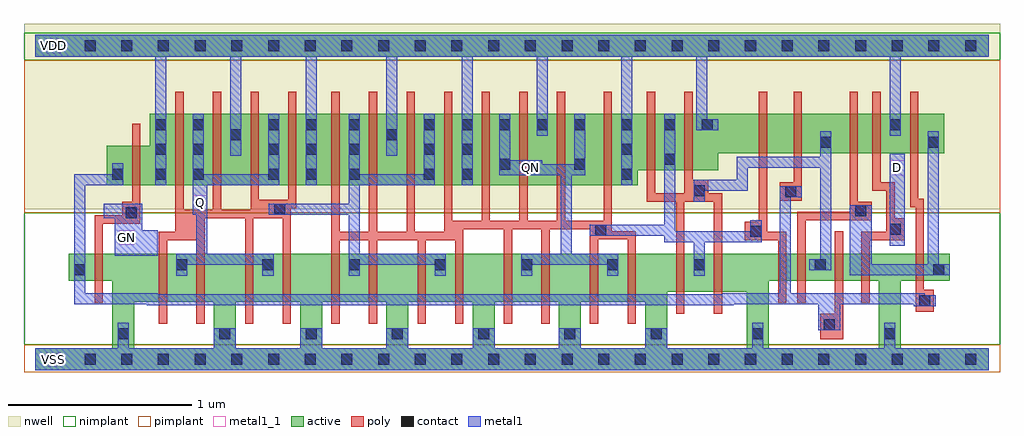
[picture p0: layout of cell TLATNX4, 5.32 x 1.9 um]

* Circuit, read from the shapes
.subckt TLATNX4 D GN Q QN VDD VSS
M1 VSS GN n1 VSS nfet w=0.145u l=0.045u
M2 Q n2 VSS VSS nfet w=0.26u l=0.045u m=4
M3 n2 n3 VSS VSS nfet w=0.26u l=0.045u m=4
M4 QN n3 VSS VSS nfet w=0.26u l=0.045u m=4
M5 n3 n4 VSS VSS nfet w=0.205u l=0.045u m=2
M6 n5 n3 VSS VSS nfet w=0.145u l=0.045u
M7 n4 n6 n5 VSS nfet w=0.145u l=0.045u
M8 n7 n1 n4 VSS nfet w=0.145u l=0.045u
M9 VSS D n7 VSS nfet w=0.145u l=0.045u
M10 n6 n1 VSS VSS nfet w=0.145u l=0.045u
M11 VDD GN n1 VDD pfet w=0.215u l=0.045u
M12 Q n2 VDD VDD pfet w=0.39u l=0.045u m=4
M13 n2 n3 VDD VDD pfet w=0.39u l=0.045u m=4
M14 QN n3 VDD VDD pfet w=0.39u l=0.045u m=4
M15 n3 n4 VDD VDD pfet w=0.31u l=0.045u m=2
M16 n8 n3 VDD VDD pfet w=0.215u l=0.045u
M17 n4 n1 n8 VDD pfet w=0.215u l=0.045u
M18 n9 n6 n4 VDD pfet w=0.215u l=0.045u
M19 VDD D n9 VDD pfet w=0.215u l=0.045u
M20 n6 n1 VDD VDD pfet w=0.215u l=0.045u
.ends

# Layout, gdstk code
import gdstk
lib = gdstk.Library(unit=1e-6, precision=5e-10)
def R(c, l, rs):  # rectangles x0, y0, x1, y1
    for r in rs: c.add(gdstk.rectangle(r[:2], r[2:], *l))
def A(c, l, x, y, w, h, nx, ny, dx, dy):  # array of equal rectangles
    R(c, l, [(x+i*dx, y+j*dy, x+i*dx+w, y+j*dy+h) for i in range(nx) for j in range(ny)])
def P(c, l, *ps):  # polygons
    for p in ps: c.add(gdstk.Polygon(p, *l))
active = (1, 0)
nwell = (2, 0)
poly = (3, 0)
nimplant = (4, 0)
pimplant = (5, 0)
contact = (6, 0)
metal1 = (7, 0)
metal1_1 = (7, 1)

tlatnx4 = lib.new_cell('TLATNX4')
R(tlatnx4, active, [(0,1.65,5.2,1.77)])
P(tlatnx4, active, [(0.625,1.34),(4.955,1.34),(4.955,1.125),(3.725,1.125),(3.725,1.03),(3.285,1.03),(3.285,0.95),(0.39,0.95),(0.39,1.165),(0.625,1.165)],
  [(0.185,0.575),(4.985,0.575),(4.985,0.43),(4.72,0.43),(4.72,0.06),(5.2,0.06),(5.2,-0.06),(0,-0.06),(0,0.06),(0.42,0.06),(0.42,0.315),(0.54,0.315),(0.54,0.06),(0.975,0.06),(0.975,0.315),(1.095,0.315),(1.095,0.06),(1.445,0.06),(1.445,0.315),(1.565,0.315),(1.565,0.06),(1.915,0.06),(1.915,0.315),(2.035,0.315),(2.035,0.06),(2.385,0.06),(2.385,0.315),(2.505,0.315),(2.505,0.06),(2.855,0.06),(2.855,0.315),(2.975,0.315),(2.975,0.06),(3.325,0.06),(3.325,0.315),(0.42,0.315),(0.42,0.37),(3.445,0.37),(3.445,0.06),(3.88,0.06),(3.88,0.37),(0.42,0.37),(0.42,0.43),(4,0.43),(4,0.06),(4.6,0.06),(4.6,0.43),(0.185,0.43)])
R(tlatnx4, nwell, [(-0.06,0.82,5.26,1.83)])
P(tlatnx4, poly, [(0.765,1.46),(0.81,1.46),(0.81,0.815),(0.97,0.815),(0.97,1.46),(1.015,1.46),(1.015,0.815),(1.175,0.815),(1.175,1.46),(1.22,1.46),(1.22,0.87),(1.38,0.87),(1.38,1.46),(1.425,1.46),(1.425,0.825),(1.395,0.825),(1.395,0.195),(1.35,0.195),(1.35,0.77),(1.19,0.77),(1.19,0.195),(1.145,0.195),(1.145,0.77),(0.925,0.77),(0.925,0.195),(0.88,0.195),(0.88,0.65),(0.72,0.65),(0.72,0.195),(0.675,0.195),(0.675,0.695),(0.765,0.695)],
  [(1.615,1.46),(1.66,1.46),(1.66,0.695),(1.82,0.695),(1.82,1.46),(1.865,1.46),(1.865,0.695),(2.025,0.695),(2.025,1.46),(2.07,1.46),(2.07,0.695),(2.23,0.695),(2.23,1.46),(2.275,1.46),(2.275,0.755),(2.435,0.755),(2.435,1.46),(2.48,1.46),(2.48,0.755),(2.64,0.755),(2.64,1.46),(2.685,1.46),(2.685,0.755),(2.845,0.755),(2.845,1.46),(2.89,1.46),(2.89,0.755),(3.1,0.755),(3.1,1.46),(3.145,1.46),(3.145,0.7),(3.275,0.7),(3.275,0.195),(3.23,0.195),(3.23,0.655),(3.07,0.655),(3.07,0.195),(3.025,0.195),(3.025,0.71),(2.805,0.71),(2.805,0.195),(2.76,0.195),(2.76,0.71),(2.6,0.71),(2.6,0.195),(2.555,0.195),(2.555,0.71),(2.335,0.71),(2.335,0.195),(2.29,0.195),(2.29,0.65),(2.13,0.65),(2.13,0.195),(2.085,0.195),(2.085,0.65),(1.865,0.65),(1.865,0.195),(1.82,0.195),(1.82,0.65),(1.66,0.65),(1.66,0.195),(1.615,0.195)],
  [(0.53,1.285),(0.575,1.285),(0.575,0.74),(0.37,0.74),(0.37,0.31),(0.325,0.31),(0.325,0.785),(0.475,0.785),(0.475,0.86),(0.53,0.86)],
  [(3.335,1.46),(3.38,1.46),(3.38,0.905),(3.54,0.905),(3.54,1.46),(3.585,1.46),(3.585,0.98),(3.67,0.98),(3.67,0.905),(3.745,0.905),(3.745,0.25),(3.7,0.25),(3.7,0.86),(3.54,0.86),(3.54,0.25),(3.495,0.25),(3.495,0.86),(3.335,0.86)],
  [(3.945,1.46),(3.99,1.46),(3.99,0.695),(4.095,0.695),(4.095,0.31),(4.05,0.31),(4.05,0.65),(3.87,0.65),(3.87,0.75),(3.945,0.75)],
  [(4.135,1.46),(4.18,1.46),(4.18,0.865),(4.06,0.865),(4.06,0.965),(4.135,0.965)],
  [(4.44,1.46),(4.485,1.46),(4.485,0.86),(4.56,0.86),(4.56,0.76),(4.2,0.76),(4.2,0.31),(4.155,0.31),(4.155,0.805),(4.44,0.805)],
  [(4.565,1.46),(4.61,1.46),(4.61,0.965),(4.685,0.965),(4.685,0.77),(4.74,0.77),(4.74,0.65),(4.55,0.65),(4.55,0.31),(4.505,0.31),(4.505,0.695),(4.64,0.695),(4.64,0.92),(4.565,0.92)],
  [(4.77,1.46),(4.815,1.46),(4.815,0.875),(4.845,0.875),(4.845,0.38),(4.9,0.38),(4.9,0.26),(4.8,0.26),(4.8,0.83),(4.77,0.83)],
  [(4.36,0.7),(4.405,0.7),(4.405,0.11),(4.28,0.11),(4.28,0.25),(4.36,0.25)])
R(tlatnx4, nimplant, [(-0.06,0.08,5.26,0.8), (-0.06,1.63,5.26,1.78)])
R(tlatnx4, pimplant, [(-0.06,-0.07,5.26,0.08), (-0.06,0.8,5.26,1.63)])
A(tlatnx4, contact, 0.07, -0.03, 0.06, 0.06, 26, 2, 0.2, 1.71)
A(tlatnx4, contact, 1.005, 0.11, 0.06, 0.06, 6, 1, 0.47, 0)
A(tlatnx4, contact, 0.77, 0.485, 0.06, 0.06, 7, 1, 0.47, 0)
A(tlatnx4, contact, 0.655, 0.98, 0.06, 0.06, 1, 3, 0, 0.135)
A(tlatnx4, contact, 0.86, 0.98, 0.06, 0.06, 1, 3, 0, 0.135)
A(tlatnx4, contact, 1.27, 0.98, 0.06, 0.06, 1, 3, 0, 0.135)
A(tlatnx4, contact, 1.475, 0.98, 0.06, 0.06, 1, 3, 0, 0.135)
A(tlatnx4, contact, 1.71, 0.98, 0.06, 0.06, 1, 3, 0, 0.135)
A(tlatnx4, contact, 3.195, 0.98, 0.06, 0.06, 1, 3, 0, 0.135)
A(tlatnx4, contact, 2.12, 1.25, 0.06, 0.06, 5, 1, 0.205, 0)
R(tlatnx4, contact, [(0.45,0.11,0.51,0.17), (3.91,0.11,3.97,0.17), (4.63,0.11,4.69,0.17), (4.3,0.16,4.36,0.22), (4.82,0.29,4.88,0.35), (0.215,0.46,0.275,0.52), (4.895,0.46,4.955,0.52), (4.25,0.485,4.31,0.545), (3.9,0.67,3.96,0.73), (3.055,0.675,3.115,0.735), (4.66,0.68,4.72,0.74), (0.495,0.77,0.555,0.83), (4.47,0.78,4.53,0.84), (1.305,0.79,1.365,0.85), (4.09,0.885,4.15,0.945), (3.59,0.89,3.65,0.95), (0.42,0.98,0.48,1.04), (2.12,0.98,2.18,1.04), (2.325,0.98,2.385,1.04), (2.53,1.035,2.59,1.095), (2.94,1.035,3,1.095), (3.43,1.06,3.49,1.12), (2.12,1.115,2.18,1.175), (2.325,1.115,2.385,1.175), (4.28,1.155,4.34,1.215), (4.865,1.155,4.925,1.215), (1.065,1.195,1.125,1.255), (1.915,1.195,1.975,1.255), (3.43,1.25,3.49,1.31), (3.635,1.25,3.695,1.31), (4.66,1.25,4.72,1.31)])
R(tlatnx4, metal1, [(4.66,0.62,4.74,1.12)])
P(tlatnx4, metal1, [(0,1.77),(5.2,1.77),(5.2,1.65),(4.72,1.65),(4.72,1.22),(4.66,1.22),(4.66,1.65),(3.665,1.65),(3.665,1.31),(3.725,1.31),(3.725,1.25),(3.605,1.25),(3.605,1.65),(3.255,1.65),(3.255,0.95),(3.195,0.95),(3.195,1.65),(2.795,1.65),(2.795,1.22),(2.735,1.22),(2.735,1.65),(2.385,1.65),(2.385,0.95),(2.325,0.95),(2.325,1.65),(1.975,1.65),(1.975,1.11),(1.915,1.11),(1.915,1.65),(1.535,1.65),(1.535,0.95),(1.475,0.95),(1.475,1.65),(1.125,1.65),(1.125,1.11),(1.065,1.11),(1.065,1.65),(0.715,1.65),(0.715,0.95),(0.655,0.95),(0.655,1.65),(0,1.65)],
  [(0.42,1.07),(0.48,1.07),(0.48,0.95),(0.275,0.95),(0.275,0.36),(0.67,0.36),(0.67,0.355),(3.75,0.355),(3.75,0.36),(4.06,0.36),(4.06,0.945),(4.18,0.945),(4.18,0.885),(4.12,0.885),(4.12,0.36),(4.85,0.36),(4.85,0.35),(4.91,0.35),(4.91,0.29),(4.79,0.29),(4.79,0.3),(4.39,0.3),(4.39,0.16),(4.27,0.16),(4.27,0.3),(3.81,0.3),(3.81,0.295),(0.61,0.295),(0.61,0.3),(0.215,0.3),(0.215,1.01),(0.42,1.01)],
  [(0.86,1.34),(0.92,1.34),(0.92,1.01),(1.27,1.01),(1.27,1.34),(1.33,1.34),(1.33,0.95),(0.94,0.95),(0.94,0.575),(1.3,0.575),(1.3,0.455),(1.24,0.455),(1.24,0.515),(0.83,0.515),(0.83,0.455),(0.77,0.455),(0.77,0.575),(0.88,0.575),(0.88,0.79),(0.86,0.79)],
  [(1.71,1.34),(1.77,1.34),(1.77,1.01),(2.12,1.01),(2.12,1.34),(2.18,1.34),(2.18,0.95),(1.77,0.95),(1.77,0.575),(2.24,0.575),(2.24,0.455),(2.18,0.455),(2.18,0.515),(1.77,0.515),(1.77,0.455),(1.71,0.455),(1.71,0.79),(1.275,0.79),(1.275,0.85),(1.71,0.85)],
  [(2.53,1.34),(2.59,1.34),(2.59,1.085),(2.765,1.085),(2.765,1.065),(2.94,1.065),(2.94,1.34),(3,1.34),(3,1.005),(2.925,1.005),(2.925,0.575),(3.18,0.575),(3.18,0.455),(3.12,0.455),(3.12,0.515),(2.71,0.515),(2.71,0.455),(2.65,0.455),(2.65,0.575),(2.865,0.575),(2.865,1.005),(2.53,1.005)],
  [(3.43,1.34),(3.49,1.34),(3.49,0.7),(3.9,0.7),(3.9,0.76),(3.96,0.76),(3.96,0.64),(3.65,0.64),(3.65,0.455),(3.59,0.455),(3.59,0.64),(3.43,0.64),(3.43,0.675),(3.025,0.675),(3.025,0.735),(3.43,0.735)],
  [(4.28,1.245),(4.34,1.245),(4.34,0.485),(4.22,0.485),(4.22,0.545),(4.28,0.545),(4.28,1.045),(3.885,1.045),(3.885,0.92),(3.65,0.92),(3.65,0.86),(3.59,0.86),(3.59,0.98),(3.825,0.98),(3.825,1.105),(4.28,1.105)],
  [(4.44,0.84),(4.56,0.84),(4.56,0.52),(4.865,0.52),(4.865,1.245),(4.925,1.245),(4.925,0.52),(4.985,0.52),(4.985,0.46),(4.44,0.46)],
  [(0.375,0.85),(0.585,0.85),(0.585,0.705),(0.67,0.705),(0.67,0.565),(0.435,0.565),(0.435,0.77),(0.375,0.77)],
  [(0.45,0.2),(0.51,0.2),(0.51,0.06),(0.975,0.06),(0.975,0.17),(1.095,0.17),(1.095,0.06),(1.445,0.06),(1.445,0.17),(1.565,0.17),(1.565,0.06),(1.915,0.06),(1.915,0.17),(2.035,0.17),(2.035,0.06),(2.385,0.06),(2.385,0.17),(2.505,0.17),(2.505,0.06),(2.855,0.06),(2.855,0.17),(2.975,0.17),(2.975,0.06),(3.325,0.06),(3.325,0.17),(3.445,0.17),(3.445,0.06),(3.91,0.06),(3.91,0.2),(3.97,0.2),(3.97,0.06),(4.63,0.06),(4.63,0.2),(4.69,0.2),(4.69,0.06),(5.2,0.06),(5.2,-0.06),(0,-0.06),(0,0.06),(0.45,0.06)])
R(tlatnx4, metal1_1, [(0.06,-0.04,0.14,0.04), (0.46,0.625,0.54,0.705), (0.86,0.815,0.94,0.895), (2.66,1.005,2.74,1.085), (4.66,1.005,4.74,1.085), (0.06,1.67,0.14,1.75)])
tlatnx4.add(gdstk.Label('QN', (2.7,1.045), layer=7, texttype=1))
tlatnx4.add(gdstk.Label('Q', (0.9,0.855), layer=7, texttype=1))
tlatnx4.add(gdstk.Label('D', (4.7,1.045), layer=7, texttype=1))
tlatnx4.add(gdstk.Label('GN', (0.5,0.665), layer=7, texttype=1))
tlatnx4.add(gdstk.Label('VDD', (0.1,1.71), layer=7, texttype=1))
tlatnx4.add(gdstk.Label('VSS', (0.1,0), layer=7, texttype=1))
tlatnx4.add(gdstk.Label('TLATNX4', (0,0), layer=63, texttype=0))

lib.write_gds('TLATNX4.gds')
